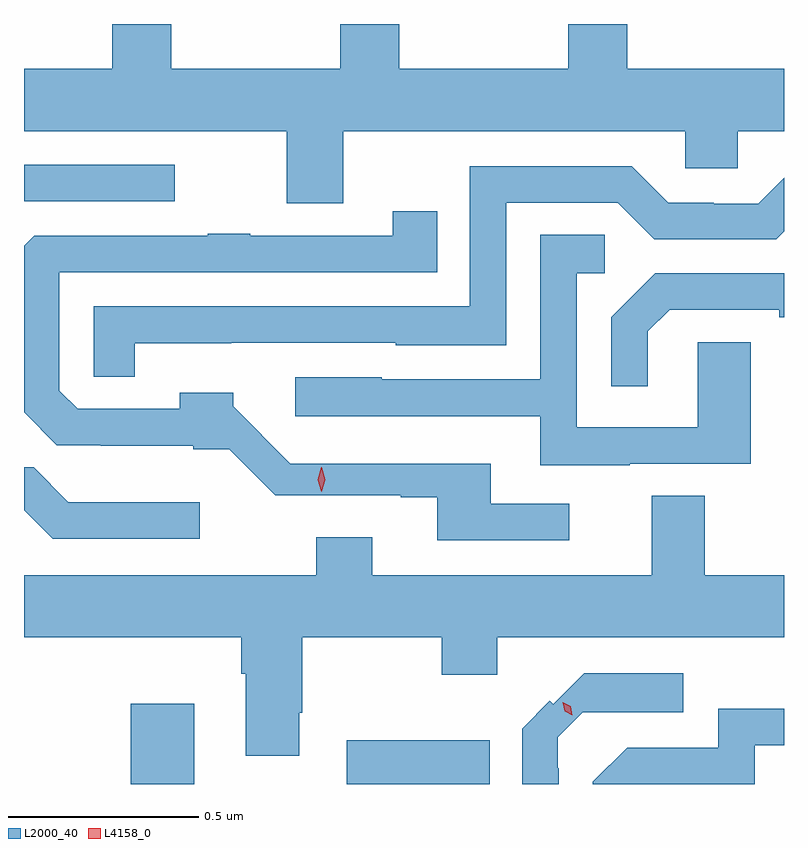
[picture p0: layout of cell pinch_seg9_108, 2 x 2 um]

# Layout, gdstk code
import gdstk
lib = gdstk.Library(unit=1e-6, precision=1e-09)
def R(c, l, rs):  # rectangles x0, y0, x1, y1
    for r in rs: c.add(gdstk.rectangle(r[:2], r[2:], *l))
def P(c, l, *ps):  # polygons
    for p in ps: c.add(gdstk.Polygon(p, *l))
L2000_40 = (2000, 40)
L4158_0 = (4158, 0)

pinch_seg9_108 = lib.new_cell('pinch_seg9_108')
R(pinch_seg9_108, L2000_40, [(1143.482,1202.694,1143.649,1202.905), (1144.05,1202.694,1144.427,1202.809), (1143.201,1204.227,1143.598,1204.323)])
P(pinch_seg9_108, L2000_40, [(1144.041,1204.412),(1144.941,1204.412),(1144.941,1204.314),(1145.079,1204.314),(1145.079,1204.412),(1145.201,1204.412),(1145.201,1204.576),(1144.788,1204.576),(1144.788,1204.694),(1144.633,1204.694),(1144.633,1204.576),(1144.188,1204.576),(1144.188,1204.694),(1144.033,1204.694),(1144.033,1204.576),(1143.588,1204.576),(1143.588,1204.694),(1143.433,1204.694),(1143.433,1204.576),(1143.201,1204.576),(1143.201,1204.412),(1143.893,1204.412),(1143.893,1204.222),(1144.041,1204.222)],
  [(1143.493,1203.854),(1143.747,1203.854),(1143.747,1203.855),(1144.179,1203.855),(1144.179,1203.848),(1144.47,1203.848),(1144.47,1204.224),(1144.764,1204.224),(1144.86,1204.128),(1145.181,1204.128),(1145.201,1204.148),(1145.201,1204.289),(1145.133,1204.221),(1145.016,1204.221),(1145.016,1204.224),(1144.896,1204.224),(1144.8,1204.32),(1144.374,1204.32),(1144.374,1203.951),(1143.384,1203.951),(1143.384,1203.766),(1143.493,1203.766)],
  [(1144.636,1203.432),(1144.429,1203.432),(1144.429,1203.537),(1143.902,1203.537),(1143.751,1203.688),(1143.751,1203.724),(1143.611,1203.724),(1143.611,1203.681),(1143.342,1203.681),(1143.294,1203.729),(1143.294,1204.041),(1144.289,1204.041),(1144.289,1204.201),(1144.171,1204.201),(1144.171,1204.137),(1143.797,1204.137),(1143.797,1204.142),(1143.685,1204.142),(1143.685,1204.137),(1143.228,1204.137),(1143.201,1204.11),(1143.201,1203.672),(1143.287,1203.586),(1143.403,1203.586),(1143.403,1203.584),(1143.646,1203.584),(1143.646,1203.575),(1143.741,1203.575),(1143.862,1203.454),(1144.193,1203.454),(1144.193,1203.449),(1144.289,1203.449),(1144.289,1203.336),(1144.636,1203.336)],
  [(1144.795,1203.537),(1145.113,1203.537),(1145.113,1203.857),(1144.974,1203.857),(1144.974,1203.633),(1144.656,1203.633),(1144.656,1204.038),(1144.729,1204.038),(1144.729,1204.139),(1144.56,1204.139),(1144.56,1203.759),(1144.143,1203.759),(1144.143,1203.765),(1143.915,1203.765),(1143.915,1203.662),(1144.559,1203.662),(1144.559,1203.533),(1144.795,1203.533)],
  [(1144.843,1203.885),(1144.9,1203.942),(1145.189,1203.942),(1145.189,1203.922),(1145.201,1203.922),(1145.201,1204.038),(1144.862,1204.038),(1144.746,1203.922),(1144.746,1203.741),(1144.843,1203.741)],
  [(1143.664,1203.436),(1143.317,1203.436),(1143.226,1203.527),(1143.201,1203.527),(1143.201,1203.414),(1143.276,1203.339),(1143.664,1203.339)],
  [(1143.925,1202.881),(1143.933,1202.881),(1143.933,1203.08),(1144.3,1203.08),(1144.3,1202.981),(1144.447,1202.981),(1144.447,1203.08),(1145.201,1203.08),(1145.201,1203.244),(1144.993,1203.244),(1144.993,1203.452),(1144.853,1203.452),(1144.853,1203.244),(1144.117,1203.244),(1144.117,1203.343),(1143.97,1203.343),(1143.97,1203.244),(1143.201,1203.244),(1143.201,1203.08),(1143.773,1203.08),(1143.773,1202.984),(1143.785,1202.984),(1143.785,1202.769),(1143.925,1202.769)],
  [(1144.608,1202.735),(1144.605,1202.735),(1144.605,1202.817),(1144.671,1202.883),(1144.936,1202.883),(1144.936,1202.985),(1144.675,1202.985),(1144.594,1202.904),(1144.584,1202.913),(1144.512,1202.84),(1144.512,1202.694),(1144.608,1202.694)],
  [(1145.124,1202.796),(1145.201,1202.796),(1145.201,1202.892),(1145.028,1202.892),(1145.028,1202.79),(1144.788,1202.79),(1144.698,1202.7),(1144.698,1202.694),(1145.124,1202.694)])
P(pinch_seg9_108, L4158_0, [(1144.644,1202.875),(1144.624,1202.886),(1144.619,1202.909),(1144.619,1202.909),(1144.619,1202.909),(1144.64,1202.898),(1144.644,1202.875),(1144.644,1202.875)],
  [(1143.984,1203.463),(1143.983,1203.464),(1143.974,1203.495),(1143.983,1203.527),(1143.984,1203.527),(1143.984,1203.527),(1143.994,1203.495),(1143.984,1203.464)])

lib.write_gds('pinch_seg9_108.gds')
